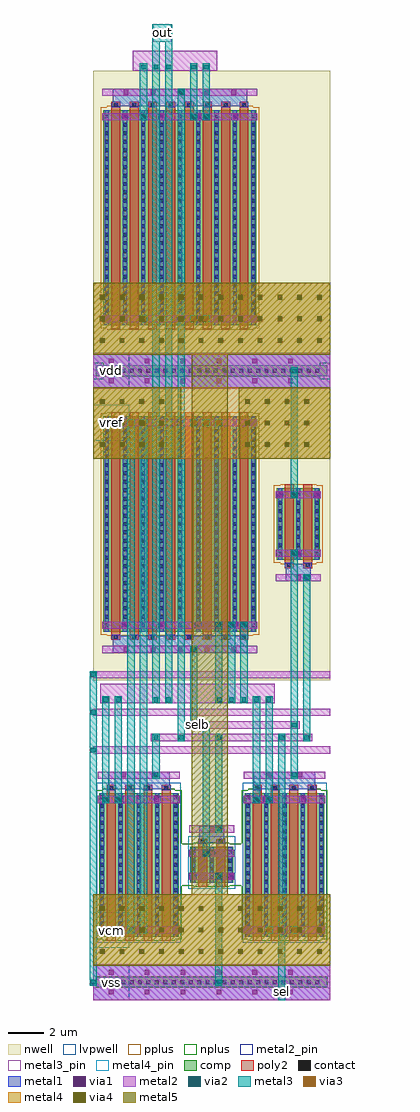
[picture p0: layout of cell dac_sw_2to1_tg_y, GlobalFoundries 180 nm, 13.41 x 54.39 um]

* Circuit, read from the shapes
.subckt dac_sw_2to1_tg_y out sel selb vcm vdd vref vss
XM1 out sel vref vss nfet_03v3 w=8u l=0.5u m=4
XM2 selb sel vss vss nfet_03v3 w=2u l=0.5u m=2
XM3 out selb vcm vss nfet_03v3 w=8u l=0.5u m=4
XM4 out selb vref vdd pfet_03v3 w=12u l=0.5u m=8
XM5 out sel vcm vdd pfet_03v3 w=12u l=0.5u m=8
XM6 selb sel vdd vdd pfet_03v3 w=4u l=0.5u m=2
.ends

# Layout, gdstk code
import gdstk
lib = gdstk.Library(unit=1e-6, precision=1e-09)
def R(c, l, rs):  # rectangles x0, y0, x1, y1
    for r in rs: c.add(gdstk.rectangle(r[:2], r[2:], *l))
def A(c, l, x, y, w, h, nx, ny, dx, dy):  # array of equal rectangles
    R(c, l, [(x+i*dx, y+j*dy, x+i*dx+w, y+j*dy+h) for i in range(nx) for j in range(ny)])
nwell = (21, 0)
comp = (22, 0)
poly2 = (30, 0)
pplus = (31, 0)
nplus = (32, 0)
contact = (33, 0)
metal1 = (34, 0)
via1 = (35, 0)
metal2 = (36, 0)
metal2_pin = (36, 10)
via2 = (38, 0)
via3 = (40, 0)
via4 = (41, 0)
metal3 = (42, 0)
metal3_pin = (42, 10)
metal4 = (46, 0)
metal4_pin = (46, 10)
metal5 = (81, 0)
lvpwell = (204, 0)

nfet_03v3_kp96zv = lib.new_cell('nfet_03v3_KP96ZV')
R(nfet_03v3_kp96zv, comp, [(-1.2,-1.12,1.2,0.88)])
R(nfet_03v3_kp96zv, poly2, [(-0.76,-1.34,-0.26,1.34), (0.26,-1.34,0.76,1.34)])
R(nfet_03v3_kp96zv, nplus, [(-0.99,-1.35,0.99,-1.28), (-1.36,-1.28,1.36,1.04), (-0.99,1.04,0.99,1.11)])
A(nfet_03v3_kp96zv, contact, -1.13, -0.935, 0.22, 0.22, 3, 4, 1.02, 0.47)
R(nfet_03v3_kp96zv, contact, [(-0.62,1.05,-0.4,1.27), (0.4,1.05,0.62,1.27)])
A(nfet_03v3_kp96zv, metal1, -1.135, -1.11, 0.23, 1.98, 3, 1, 1.02, 0)
R(nfet_03v3_kp96zv, metal1, [(-0.75,1.045,-0.27,1.275), (0.27,1.045,0.75,1.275)])
R(nfet_03v3_kp96zv, lvpwell, [(-1.32,-1.46,1.32,1.46)])

nfet_03v3_ceg9x9 = lib.new_cell('nfet_03v3_CEG9X9')
R(nfet_03v3_ceg9x9, comp, [(-2.22,-4.12,2.22,3.88)])
A(nfet_03v3_ceg9x9, poly2, -1.78, -4.34, 0.5, 8.68, 4, 1, 1.02, 0)
R(nfet_03v3_ceg9x9, nplus, [(-2.01,-4.35,2.01,-4.28), (-2.38,-4.28,2.38,4.04), (-2.01,4.04,2.01,4.11)])
A(nfet_03v3_ceg9x9, contact, -2.15, -3.99, 0.22, 0.22, 5, 17, 1.02, 0.47)
A(nfet_03v3_ceg9x9, contact, -1.64, 4.05, 0.22, 0.22, 4, 1, 1.02, 0)
A(nfet_03v3_ceg9x9, metal1, -2.155, -4.11, 0.23, 7.98, 5, 1, 1.02, 0)
A(nfet_03v3_ceg9x9, metal1, -1.77, 4.045, 0.48, 0.23, 4, 1, 1.02, 0)
R(nfet_03v3_ceg9x9, lvpwell, [(-2.34,-4.46,2.34,4.46)])

pfet_03v3_ze833c = lib.new_cell('pfet_03v3_ZE833C')
R(pfet_03v3_ze833c, nwell, [(-1.63,-2.77,1.63,2.77)])
R(pfet_03v3_ze833c, comp, [(-1.2,-2.12,1.2,1.88)])
R(pfet_03v3_ze833c, poly2, [(-0.76,-2.34,-0.26,2.34), (0.26,-2.34,0.76,2.34)])
R(pfet_03v3_ze833c, pplus, [(-0.99,-2.35,0.99,-2.28), (-1.36,-2.28,1.36,2.04), (-0.99,2.04,0.99,2.11)])
A(pfet_03v3_ze833c, contact, -1.13, -1.875, 0.22, 0.22, 3, 8, 1.02, 0.47)
R(pfet_03v3_ze833c, contact, [(-0.62,2.05,-0.4,2.27), (0.4,2.05,0.62,2.27)])
A(pfet_03v3_ze833c, metal1, -1.135, -2.11, 0.23, 3.98, 3, 1, 1.02, 0)
R(pfet_03v3_ze833c, metal1, [(-0.75,2.045,-0.27,2.275), (0.27,2.045,0.75,2.275)])

pfet_03v3_xeznmc = lib.new_cell('pfet_03v3_XEZNMC')
R(pfet_03v3_xeznmc, nwell, [(-4.69,-6.77,4.69,6.77)])
R(pfet_03v3_xeznmc, comp, [(-4.26,-6.12,4.26,5.88)])
A(pfet_03v3_xeznmc, poly2, -3.82, -6.34, 0.5, 12.68, 8, 1, 1.02, 0)
R(pfet_03v3_xeznmc, pplus, [(-4.05,-6.35,4.05,-6.28), (-4.42,-6.28,4.42,6.04), (-4.05,6.04,4.05,6.11)])
A(pfet_03v3_xeznmc, contact, -4.19, -5.87, 0.22, 0.22, 9, 25, 1.02, 0.47)
A(pfet_03v3_xeznmc, contact, -3.68, 6.05, 0.22, 0.22, 8, 1, 1.02, 0)
A(pfet_03v3_xeznmc, metal1, -4.195, -6.11, 0.23, 11.98, 9, 1, 1.02, 0)
A(pfet_03v3_xeznmc, metal1, -3.81, 6.045, 0.48, 0.23, 8, 1, 1.02, 0)

dac_sw_2to1_tg_y = lib.new_cell('dac_sw_2to1_tg_y')
R(dac_sw_2to1_tg_y, nwell, [(0,16.83,13.2,50.79)])
R(dac_sw_2to1_tg_y, comp, [(0.15,-0.3,13.05,0.3), (0.15,33.76,13.05,34.36)])
R(dac_sw_2to1_tg_y, pplus, [(0.13,-0.32,13.07,0.32)])
R(dac_sw_2to1_tg_y, nplus, [(4.92,5.375,5.24,7.695), (7.96,5.375,8.28,7.695), (-0.01,33.6,0.59,33.74), (12.61,33.6,13.21,33.74), (-0.01,33.74,13.21,34.38), (-0.01,34.38,0.59,34.52), (12.61,34.38,13.21,34.52)])
A(dac_sw_2to1_tg_y, contact, 0.615, -0.11, 0.22, 0.22, 26, 2, 0.47, 34.06)
A(dac_sw_2to1_tg_y, metal1, 0.31, 2.71, 0.38, 0.38, 3, 1, 2.04, 0)
A(dac_sw_2to1_tg_y, metal1, 8.43, 2.71, 0.38, 0.38, 3, 1, 2.04, 0)
A(dac_sw_2to1_tg_y, metal1, 1.58, 19.7, 0.38, 0.38, 4, 2, 2.04, 28.34)
A(dac_sw_2to1_tg_y, metal1, 0.56, 30.97, 0.38, 0.38, 5, 2, 2.04, 5.8)
R(dac_sw_2to1_tg_y, metal1, [(0,-1,13.2,1), (5.39,5.71,5.77,6.09), (7.43,5.71,7.81,6.09), (6.41,6.98,6.79,7.36), (5.905,7.755,7.295,8.72), (1.33,9.98,1.71,10.36), (3.37,9.98,3.75,10.36), (9.45,9.98,9.83,10.36), (11.49,9.98,11.87,10.36), (0.825,10.755,4.255,11.72), (8.945,10.755,12.375,11.72), (1.075,18.34,8.585,19.305), (10.735,22.34,12.125,23.305), (11.24,23.7,11.62,24.08), (10.22,26.97,10.6,27.35), (12.26,26.97,12.64,27.35), (0,33.06,13.2,35.06), (1.075,48.815,8.585,49.78)])
A(dac_sw_2to1_tg_y, via1, 0.87, -0.68, 0.26, 0.26, 6, 2, 2, 1.1)
A(dac_sw_2to1_tg_y, via1, 0.37, 2.77, 0.26, 0.26, 3, 1, 2.04, 0)
A(dac_sw_2to1_tg_y, via1, 8.49, 2.77, 0.26, 0.26, 3, 1, 2.04, 0)
A(dac_sw_2to1_tg_y, via1, 1.7, 18.4, 0.26, 0.26, 5, 2, 1.5, 31.06)
A(dac_sw_2to1_tg_y, via1, 1.64, 19.76, 0.26, 0.26, 4, 2, 2.04, 28.34)
A(dac_sw_2to1_tg_y, via1, 0.62, 31.03, 0.26, 0.26, 5, 2, 2.04, 5.8)
A(dac_sw_2to1_tg_y, via1, 0.87, 33.38, 0.26, 0.26, 6, 2, 2, 1.1)
R(dac_sw_2to1_tg_y, via1, [(5.45,5.77,5.71,6.03), (7.49,5.77,7.75,6.03), (6.47,7.04,6.73,7.3), (6.47,8.4,6.73,8.66), (1.39,10.04,1.65,10.3), (3.43,10.04,3.69,10.3), (9.51,10.04,9.77,10.3), (11.55,10.04,11.81,10.3), (1.555,11.4,1.815,11.66), (3.265,11.4,3.525,11.66), (9.675,11.4,9.935,11.66), (11.385,11.4,11.645,11.66), (11.3,22.4,11.56,22.66), (11.3,23.76,11.56,24.02), (10.28,27.03,10.54,27.29), (12.32,27.03,12.58,27.29)])
A(dac_sw_2to1_tg_y, metal2, -0.14, 12.79, 13.34, 0.28, 1, 3, 0, 2.1)
R(dac_sw_2to1_tg_y, metal2, [(0,-1,13.2,-0.14), (-0.14,-0.14,13.2,0.14), (0,0.14,13.2,1), (0.26,2.7,4.82,3.1), (8.38,2.7,12.94,3.1), (5.34,5.7,7.86,6.1), (5.34,6.97,7.86,7.37), (5.34,8.33,7.86,8.73), (0.26,9.97,4.82,10.37), (8.38,9.97,12.94,10.37), (0.26,11.33,4.82,11.73), (8.38,11.33,12.94,11.73), (0,12.73,13.2,12.79), (0,13.07,13.2,13.13), (3.2,13.43,12.2,13.83), (5.3,14.13,11.5,14.53), (0,14.83,13.2,14.89), (0,15.17,13.2,15.23), (0.4,15.53,10.1,16.63), (0,16.93,13.2,16.99), (0,17.27,13.2,17.33), (0.51,18.33,9.15,18.73), (0.51,19.69,9.15,20.09), (10.17,22.33,12.69,22.73), (10.17,23.69,12.69,24.09), (10.17,26.96,12.69,27.36), (0.51,30.96,9.15,31.36), (0,33.06,13.2,35.06), (0.51,36.76,9.15,37.16), (0.51,48.03,9.15,48.43), (0.51,49.39,9.15,49.79), (2.2,50.79,6.9,51.89)])
R(dac_sw_2to1_tg_y, metal2_pin, [(0,-1,2,1), (0,33.06,2,35.06)])
A(dac_sw_2to1_tg_y, via2, 3.37, 11.4, 0.26, 0.26, 1, 3, 0, 2.1)
A(dac_sw_2to1_tg_y, via2, -0.13, 12.8, 0.26, 0.26, 1, 3, 0, 2.1)
A(dac_sw_2to1_tg_y, via2, 6.87, 15.6, 0.26, 0.26, 5, 1, 0.7, 0)
A(dac_sw_2to1_tg_y, via2, 6.87, 19.76, 0.26, 0.26, 3, 1, 0.7, 0)
A(dac_sw_2to1_tg_y, via2, 5.47, 31.03, 0.26, 0.26, 3, 1, 0.7, 0)
A(dac_sw_2to1_tg_y, via2, 2.67, 50.86, 0.26, 0.26, 3, 1, 0.7, 0)
R(dac_sw_2to1_tg_y, via2, [(-0.13,-0.13,0.13,0.13), (6.87,-0.13,7.13,0.13), (1.97,2.77,2.23,3.03), (2.67,2.77,2.93,3.03), (9.67,2.77,9.93,3.03), (11.07,2.77,11.33,3.03), (6.87,5.77,7.13,6.03), (6.17,7.04,6.43,7.3), (6.87,8.4,7.13,8.66), (0.57,10.04,0.83,10.3), (1.27,10.04,1.53,10.3), (8.97,10.04,9.23,10.3), (9.67,10.04,9.93,10.3), (11.07,11.4,11.33,11.66), (4.77,13.5,5.03,13.76), (6.87,13.5,7.13,13.76), (10.37,13.5,10.63,13.76), (11.77,13.5,12.03,13.76), (5.47,14.2,5.73,14.46), (6.17,14.2,6.43,14.46), (11.07,14.2,11.33,14.46), (0.57,15.6,0.83,15.86), (1.27,15.6,1.53,15.86), (4.07,15.6,4.33,15.86), (5.47,18.4,5.73,18.66), (11.77,22.4,12.03,22.66), (11.07,23.76,11.33,24.02), (11.07,27.03,11.33,27.29), (11.07,33.93,11.33,34.19), (2.67,36.83,2.93,37.09), (5.47,36.83,5.73,37.09), (6.17,36.83,6.43,37.09), (2.67,48.1,2.93,48.36), (5.47,48.1,5.73,48.36), (6.17,48.1,6.43,48.36), (4.77,49.46,5.03,49.72), (5.47,50.86,5.73,51.12), (6.17,50.86,6.43,51.12)])
A(dac_sw_2to1_tg_y, via3, 5.47, 31.03, 0.26, 0.26, 3, 1, 0.7, 0)
R(dac_sw_2to1_tg_y, via3, [(9.67,2.77,9.93,3.03), (11.07,2.77,11.33,3.03), (1.97,31.03,2.23,31.29), (2.67,31.03,2.93,31.29), (2.67,36.83,2.93,37.09), (5.47,36.83,5.73,37.09), (6.17,36.83,6.43,37.09)])
A(dac_sw_2to1_tg_y, via4, 0.37, 1.57, 0.26, 0.26, 12, 3, 1.1, 1.2)
A(dac_sw_2to1_tg_y, via4, 0.37, 29.83, 0.26, 0.26, 4, 3, 1.1, 1.2)
A(dac_sw_2to1_tg_y, via4, 8.47, 29.83, 0.26, 0.26, 4, 3, 1.1, 1.2)
A(dac_sw_2to1_tg_y, via4, 0.37, 35.63, 0.26, 0.26, 12, 3, 1.1, 1.2)
A(dac_sw_2to1_tg_y, metal3, 6.8, 15.53, 0.4, 4.56, 3, 1, 0.7, 0)
A(dac_sw_2to1_tg_y, metal3, 5.4, 30.96, 0.4, 0.4, 3, 1, 0.7, 0)
R(dac_sw_2to1_tg_y, metal3, [(10.3,-1,10.7,13.83), (-0.2,-0.2,0.2,17.33), (6.8,-0.2,7.2,6.1), (1.9,2.7,2.3,31.36), (2.6,2.7,3,31.36), (9.6,2.7,10,3.1), (11,2.7,11.4,3.1), (6.1,6.97,6.5,14.53), (6.8,8.33,7.2,13.83), (0.5,9.97,0.9,15.93), (1.2,9.97,1.6,15.93), (8.9,9.97,9.3,15.93), (9.6,9.97,10,15.93), (3.3,11.33,3.7,13.83), (11,11.33,11.4,24.09), (4.7,13.43,5.1,49.79), (11.7,13.43,12.1,22.73), (5.4,14.13,5.8,18.73), (3.3,15.53,3.7,52.39), (4,15.53,4.4,52.39), (11,26.96,11.4,34.26), (2.6,36.76,3,37.16), (5.4,36.76,5.8,37.16), (6.1,36.76,6.5,37.16), (2.6,48.03,3,51.19), (5.4,48.03,5.8,51.19), (6.1,48.03,6.5,51.19), (3.3,52.39,4.4,53.39)])
R(dac_sw_2to1_tg_y, metal3_pin, [(10.3,-1,10.7,0), (3.35,52.39,4.35,53.39)])
R(dac_sw_2to1_tg_y, metal4, [(0,0.9,13.2,4.9), (0,29.16,13.2,33.16), (0,34.96,13.2,38.96)])
R(dac_sw_2to1_tg_y, metal4_pin, [(0,1.9,2,3.9), (0,30.16,2,32.16)])
R(dac_sw_2to1_tg_y, metal5, [(0,0.9,13.2,4.9), (5.5,4.9,7.5,34.96), (0,29.16,4.9,33.16), (8.1,29.16,13.2,33.16), (0,34.96,13.2,38.96)])
dac_sw_2to1_tg_y.add(gdstk.Reference(nfet_03v3_kp96zv, (6.6,6.655)))
dac_sw_2to1_tg_y.add(gdstk.Reference(nfet_03v3_ceg9x9, (2.54,6.655)))
dac_sw_2to1_tg_y.add(gdstk.Reference(nfet_03v3_ceg9x9, (10.66,6.655)))
dac_sw_2to1_tg_y.add(gdstk.Reference(pfet_03v3_ze833c, (11.43,25.405), x_reflection=True))
dac_sw_2to1_tg_y.add(gdstk.Reference(pfet_03v3_xeznmc, (4.83,25.405), x_reflection=True))
dac_sw_2to1_tg_y.add(gdstk.Reference(pfet_03v3_xeznmc, (4.83,42.715)))
dac_sw_2to1_tg_y.add(gdstk.Label('selb', (5.8,14.33), layer=36, texttype=0))
dac_sw_2to1_tg_y.add(gdstk.Label('sel', (10.5,-0.5), layer=42, texttype=10))
dac_sw_2to1_tg_y.add(gdstk.Label('out', (3.85,52.89), layer=42, texttype=10))
dac_sw_2to1_tg_y.add(gdstk.Label('vss', (1,0), layer=36, texttype=10))
dac_sw_2to1_tg_y.add(gdstk.Label('vdd', (1,34.06), layer=36, texttype=10))
dac_sw_2to1_tg_y.add(gdstk.Label('vref', (1,31.16), layer=46, texttype=10))
dac_sw_2to1_tg_y.add(gdstk.Label('vcm', (1,2.9), layer=46, texttype=10))

lib.write_gds('dac_sw_2to1_tg_y.gds')
